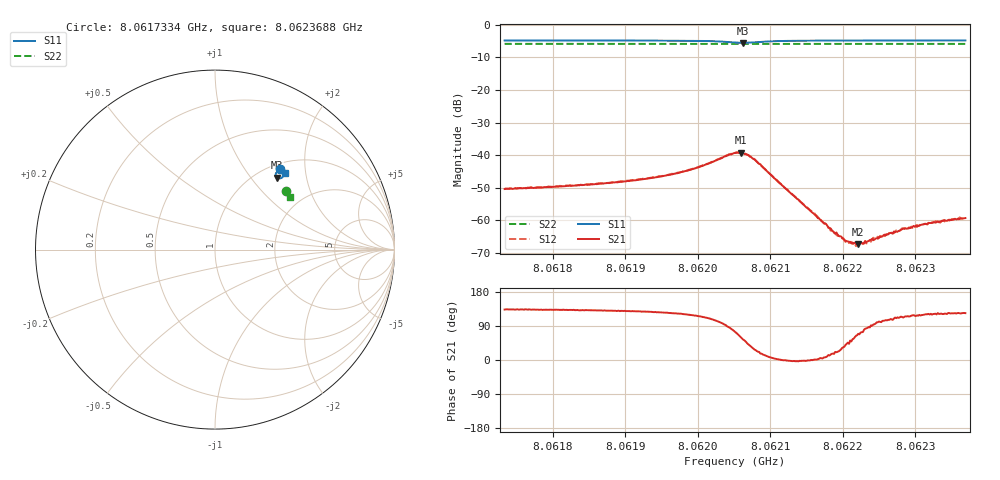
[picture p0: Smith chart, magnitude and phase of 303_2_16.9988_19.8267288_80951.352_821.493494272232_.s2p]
#  HZ  S  RI  R  50.00
! Rohde & Schwarz Vector Network Analyzer
! Rohde-Schwarz,ZNB20-2Port,1311601062101988,3.16
! Created: UTC 3/20/2024, 11:05:41 PM
! freq[Hz]  re:S11  im:S11  re:S21  im:S21  re:S12  im:S12  re:S22  im:S22
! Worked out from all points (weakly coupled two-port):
!   401 points, 8.0617334 GHz to 8.0623688 GHz, reference 50 ohm
!   highest |S21| = -39.20 dB at 8.062059 GHz (marker M1); lowest = -67.2 dB at 8.0622211 GHz (marker M2)
!   lowest |S11| = -5.5 dB at 8.0620622 GHz (marker M3), VSWR 3.25, Z = 61 + j68.1 ohm
!   |S11| at or under -10 dB: nowhere
!   |S22| runs from -5.9 to -5.8 dB; largest |S21 - S12| = 0.00082
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8.06173337e9  0.3602 0.4493  -0.00207 0.0022  -0.00199 0.00234  0.3931 0.3266
8.06183981e9  0.3678 0.4429  -0.00231 0.00258  -0.00215 0.00274  0.3969 0.3215
8.06189223e9  0.3716 0.4389  -0.00244 0.00301  -0.00231 0.00317  0.399 0.3187
8.06194625e9  0.3764 0.4332  -0.00272 0.00376  -0.00255 0.00402  0.401 0.316
8.06199391e9  0.3804 0.4237  -0.00288 0.00544  -0.00258 0.00569  0.403 0.3133
8.0620511e9  0.3604 0.3965  0.0029 0.0104  0.00363 0.0102  0.4036 0.3096
8.06205904e9  0.3495 0.3988  0.00541 0.00954  0.00599 0.00912  0.4035 0.3096
8.06206222e9  0.3457 0.4014  0.00628 0.00868  0.00676 0.00835  0.4033 0.3096
8.06207016e9  0.3391 0.4109  0.00754 0.0064  0.00784 0.00592  0.4035 0.3098
8.06208287e9  0.3397 0.4261  0.00709 0.00286  0.00728 0.00238  0.4041 0.3098
8.06215753e9  0.3679 0.4383  0.00132 -9.67e-06  0.00135 -8.13e-05  0.4081 0.3064
8.06218613e9  0.3725 0.4366  0.000649 0.000199  0.000681 0.000185  0.4095 0.3049
8.06219407e9  0.3736 0.436  0.000527 0.000224  0.000545 0.000204  0.4096 0.3045
8.06220519e9  0.3749 0.4353  0.000351 0.000326  0.00039 0.000283  0.4101 0.304
8.06220837e9  0.3754 0.4351  0.000344 0.000317  0.000344 0.000287  0.4101 0.3037
8.06221631e9  0.3763 0.4346  0.000225 0.000394  0.000247 0.000375  0.4105 0.3034
8.06222108e9  0.3767 0.4343  0.000155 0.000406  0.000174 0.000401  0.4106 0.3031
8.06223538e9  0.3781 0.4335  2.65e-05 0.000478  3.85e-05 0.000447  0.4112 0.3024
8.06224491e9  0.3789 0.4327  -5.51e-05 0.000519  -2.63e-06 0.000523  0.4115 0.3018
8.06226397e9  0.3808 0.4316  -0.000173 0.000608  -0.000153 0.000618  0.4122 0.3008
8.06231004e9  0.3842 0.429  -0.000414 0.000754  -0.000394 0.000772  0.4139 0.2985
8.06236882e9  0.3884 0.4255  -0.000598 0.000899  -0.000585 0.000922  0.416 0.2956
